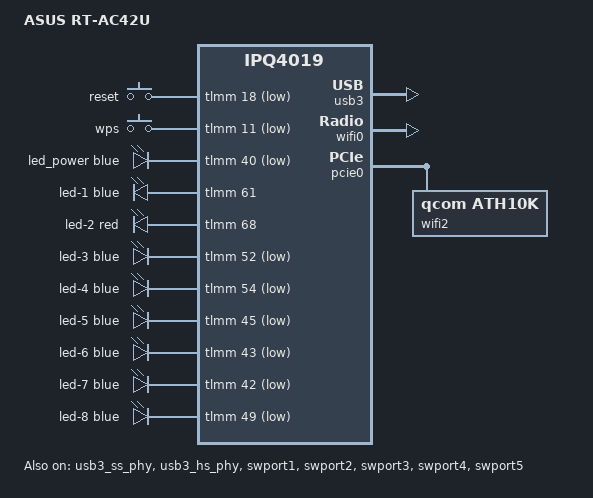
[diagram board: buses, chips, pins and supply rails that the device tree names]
// SPDX-License-Identifier: GPL-2.0-or-later OR MIT

#include "qcom-ipq4019.dtsi"
#include <dt-bindings/leds/common.h>
#include "qcom-ipq4019-asus.dtsi"

/ {
	model = "ASUS RT-AC42U";
	compatible = "asus,rt-ac42u";

	aliases {
		led-boot = &led_power;
		led-failsafe = &led_power;
		led-running = &led_power;
		led-upgrade = &led_power;
	};

	keys {
		compatible = "gpio-keys";

		reset {
			label = "reset";
			gpios = <&tlmm 18 GPIO_ACTIVE_LOW>;
			linux,code = <KEY_RESTART>;
		};

		wps {
			label = "wps";
			gpios = <&tlmm 11 GPIO_ACTIVE_LOW>;
			linux,code = <KEY_WPS_BUTTON>;
		};
	};

	leds {
		compatible = "gpio-leds";

		led_power: led-0 {
			color = <LED_COLOR_ID_BLUE>;
			function = LED_FUNCTION_STATUS;
			gpios = <&tlmm 40 GPIO_ACTIVE_LOW>;
		};

		led-1 {
			color = <LED_COLOR_ID_BLUE>;
			function = LED_FUNCTION_WAN;
			gpios = <&tlmm 61 GPIO_ACTIVE_HIGH>;
			linux,default-trigger = "90000.mdio-1:04:link";
		};

		led-2 {
			color = <LED_COLOR_ID_RED>;
			function = LED_FUNCTION_WAN;
			gpios = <&tlmm 68 GPIO_ACTIVE_HIGH>;
			linux,default-trigger = "none";
		};

		led-3 {
			color = <LED_COLOR_ID_BLUE>;
			function = LED_FUNCTION_WLAN;
			function-enumerator = <0>;
			gpios = <&tlmm 52 GPIO_ACTIVE_LOW>;
			linux,default-trigger = "phy1tpt";
		};

		led-4 {
			color = <LED_COLOR_ID_BLUE>;
			function = LED_FUNCTION_WLAN;
			function-enumerator = <1>;
			gpios = <&tlmm 54 GPIO_ACTIVE_LOW>;
			linux,default-trigger = "phy0tpt";
		};

		led-5 {
			color = <LED_COLOR_ID_BLUE>;
			function = LED_FUNCTION_LAN;
			function-enumerator = <1>;
			gpios = <&tlmm 45 GPIO_ACTIVE_LOW>;
		};

		led-6 {
			color = <LED_COLOR_ID_BLUE>;
			function = LED_FUNCTION_LAN;
			function-enumerator = <2>;
			gpios = <&tlmm 43 GPIO_ACTIVE_LOW>;
		};

		led-7 {
			color = <LED_COLOR_ID_BLUE>;
			function = LED_FUNCTION_LAN;
			function-enumerator = <3>;
			gpios = <&tlmm 42 GPIO_ACTIVE_LOW>;
		};

		led-8 {
			color = <LED_COLOR_ID_BLUE>;
			function = LED_FUNCTION_LAN;
			function-enumerator = <4>;
			gpios = <&tlmm 49 GPIO_ACTIVE_LOW>;
		};
	};
};

&tlmm {
	serial_pins: serial_pinmux {
		mux {
			pins = "gpio16", "gpio17";
			function = "blsp_uart0";
			bias-disable;
		};
	};

	nand_pins: nand_pins {
		pullups {
			pins = "gpio53", "gpio58", "gpio59";
			function = "qpic";
			bias-pull-up;
		};

		pulldowns {
			pins = "gpio55", "gpio56", "gpio57", "gpio60",
				"gpio62", "gpio63", "gpio64", "gpio65",
				"gpio66", "gpio67", "gpio69";
			function = "qpic";
			bias-pull-down;
		};
	};
};

&usb3 {
	status = "okay";
	
	dwc3@8a00000 {
		#address-cells = <1>;
		#size-cells = <0>;

		usb3_port1: port@1 {
			reg = <1>;
			#trigger-source-cells = <0>;
		};

		usb3_port2: port@2 {
			reg = <2>;
			#trigger-source-cells = <0>;
		};
	};
};

&usb3_ss_phy {
	status = "okay";
};

&usb3_hs_phy {
	status = "okay";
};

&swport1 {
	status = "okay";
};

&swport2 {
	status = "okay";
};

&swport3 {
	status = "okay";
};

&swport4 {
	status = "okay";
};

&swport5 {
	status = "okay";
};

&wifi0 {
	status = "okay";
	qcom,ath10k-calibration-variant = "ASUS-RT-AC42U";
};

&pcie0 {
	status = "okay";
	perst-gpio = <&tlmm 38 GPIO_ACTIVE_LOW>;
	wake-gpio = <&tlmm 50 GPIO_ACTIVE_LOW>;
	clkreq-gpio = <&tlmm 39 GPIO_ACTIVE_LOW>;

	bridge@0,0 {
		reg = <0x00000000 0 0 0 0>;
		#address-cells = <3>;
		#size-cells = <2>;
		ranges;

		wifi2: wifi@1,0 {
			compatible = "qcom,ath10k";
			reg = <0x00010000 0 0 0 0>;
			qcom,ath10k-calibration-variant = "ASUS-RT-AC42U";
		};
	};
};
